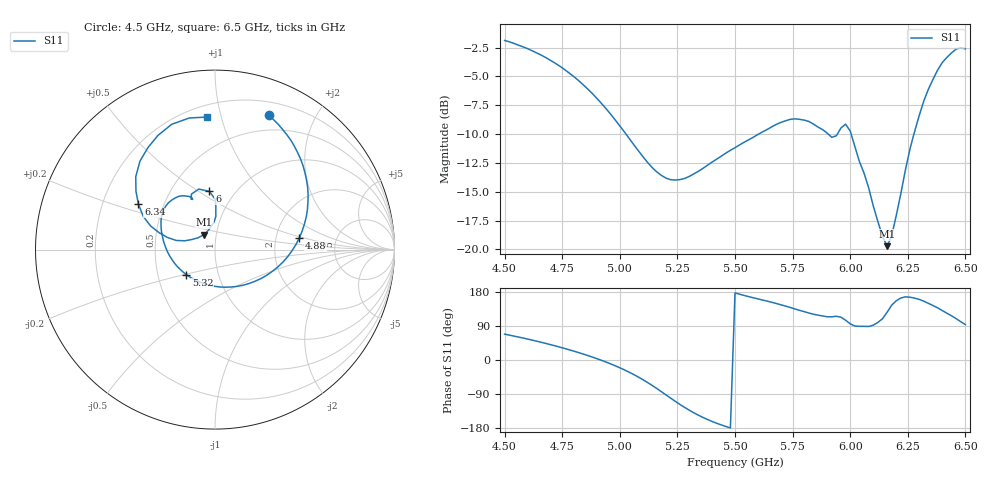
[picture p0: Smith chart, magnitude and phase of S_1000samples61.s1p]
! TOUCHSTONE file generated by CST MICROWAVE STUDIO
! Date and time: Wed Oct 26 20:46:53 2022
! Project name: L.cst
! Parameters = {Di=1.27; Epsilon_r=1.56; InnerDiameter=1.27; Length=2; Lf=10; Lg=60; OuterConductorThickness=0.2921; OuterDiameter=3.6; Wf=3; Wp=41.2; de=1.5; df=6.8; g=0.8; gx=3.66834; gy=2.23114; h=2.34; hf=1.524; px=14.9671; py=9.10531; w=9.7; wx=11.2988; wy=6.87417}
! Header version: 2018
! Port assignment regex: !\s*Touchstone port\s*([0-9]+)\s*=\s*(CST MWS port|CST DS port)\s*([0-9]+|Zmin|Zmax)\s*\(\"(.*)\"\)(\s*mode\s*([0-9]+))?.*
! Touchstone port assignment:
! Touchstone port 1 = CST MWS port 1 ("")
# GHz S DB R 50
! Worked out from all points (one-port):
!   101 points, 4.5 GHz to 6.5 GHz, reference 50 ohm
!   lowest |S11| = -19.7 dB at 6.16 GHz (marker M1), VSWR 1.23, Z = 43.7 + j7.41 ohm
!   |S11| at or under -10 dB: 5.027 GHz to 5.603 GHz (576 MHz wide, 10.8 % of centre); 5.904 GHz to 5.944 GHz (40.09 MHz wide, 0.677 % of centre); 6.004 GHz to 6.277 GHz (272.7 MHz wide, 4.44 % of centre)
!   S11 on the Smith chart (normalised r, x): 4.5 GHz: 0.34, +1.42; 4.88 GHz: 2.72, +0.46; 5.32 GHz: 0.70, -0.20; 6 GHz: 0.76, +0.56; 6.34 GHz: 0.36, +0.24; 6.5 GHz: 0.28, +0.90
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4.5  -1.89 68.2
4.64  -2.98 49.6
4.76  -4.41 30.5
4.88  -6.47 7.9
5  -9.29 -20.4
5.12  -12.45 -59.2
5.2  -13.82 -91.9
5.26  -13.95 -116.9
5.32  -13.47 -138.9
5.5  -11.18 177.0
5.66  -9.37 152.3
5.76  -8.68 134.7
5.84  -9.13 120.8
5.92  -10.29 113.9
5.96  -9.47 113.0
5.98  -9.14 105.0
6  -9.73 95.5
6.02  -11.06 89.7
6.08  -14.65 88.5
6.16  -19.72 125.8
6.18  -18.83 144.7
6.26  -11.25 165.7
6.3  -8.37 159.9
6.34  -6.09 149.3
6.38  -4.44 137.4
6.42  -3.35 123.3
6.46  -2.63 109.1
6.5  -2.62 93.4
